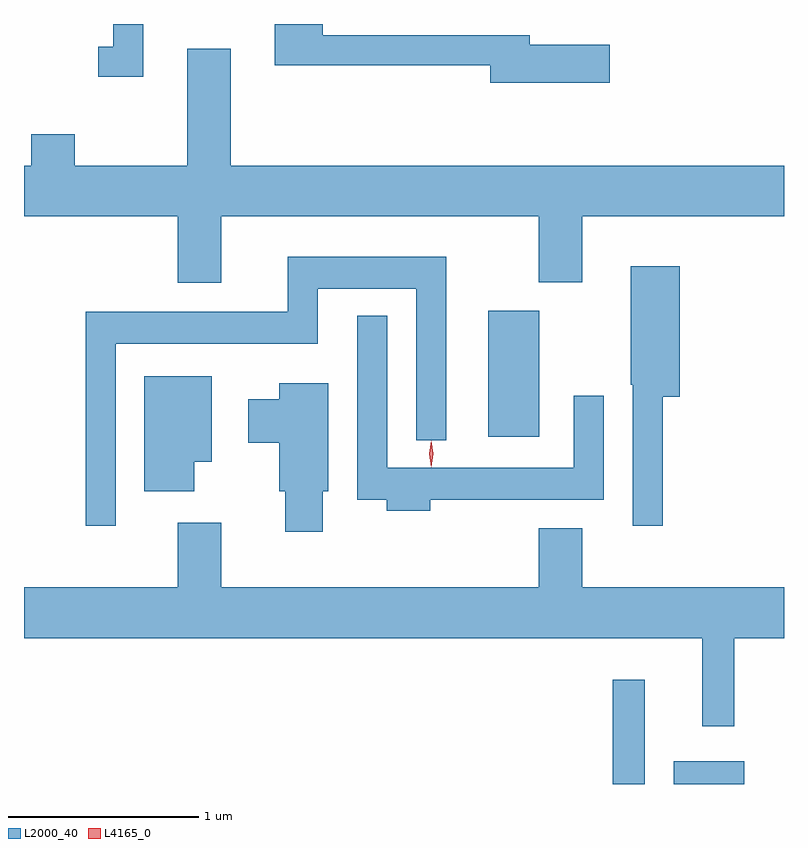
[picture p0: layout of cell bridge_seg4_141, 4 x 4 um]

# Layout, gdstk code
import gdstk
lib = gdstk.Library(unit=1e-6, precision=1e-09)
def R(c, l, rs):  # rectangles x0, y0, x1, y1
    for r in rs: c.add(gdstk.rectangle(r[:2], r[2:], *l))
def P(c, l, *ps):  # polygons
    for p in ps: c.add(gdstk.Polygon(p, *l))
L2000_40 = (2000, 40)
L4165_0 = (4165, 0)

bridge_seg4_141 = lib.new_cell('bridge_seg4_141')
R(bridge_seg4_141, L2000_40, [(903.371,1307.289,903.539,1307.838), (903.691,1307.289,904.064,1307.409), (902.716,1309.116,902.984,1309.779)])
P(bridge_seg4_141, L2000_40, [(900.899,1311.289),(900.741,1311.289),(900.741,1311.169),(900.663,1311.169),(900.663,1311.011),(900.899,1311.011)],
  [(903.354,1311.179),(902.934,1311.179),(902.934,1311.229),(901.844,1311.229),(901.844,1311.289),(901.591,1311.289),(901.591,1311.071),(902.726,1311.071),(902.726,1310.981),(903.354,1310.981)],
  [(901.309,1310.276),(902.981,1310.276),(902.981,1309.931),(903.209,1309.931),(903.209,1310.276),(904.272,1310.276),(904.272,1310.544),(901.359,1310.544),(901.359,1311.159),(901.131,1311.159),(901.131,1310.544),(900.539,1310.544),(900.539,1310.709),(900.311,1310.709),(900.311,1310.544),(900.272,1310.544),(900.272,1310.276),(901.081,1310.276),(901.081,1309.926),(901.309,1309.926)],
  [(900.754,1309.606),(901.819,1309.606),(901.819,1309.896),(902.336,1309.896),(902.336,1309.098),(902.494,1309.098),(902.494,1310.064),(901.661,1310.064),(901.661,1309.774),(900.596,1309.774),(900.596,1308.648),(900.754,1308.648)],
  [(903.634,1309.326),(903.724,1309.326),(903.724,1310.014),(903.466,1310.014),(903.466,1309.39),(903.476,1309.39),(903.476,1308.648),(903.634,1308.648)],
  [(902.409,1308.786),(903.324,1308.786),(903.324,1309.333),(903.166,1309.333),(903.166,1308.954),(902.184,1308.954),(902.184,1309.753),(902.026,1309.753),(902.026,1308.786),(902.181,1308.786),(902.181,1308.726),(902.409,1308.726)],
  [(901.169,1308.986),(901.259,1308.986),(901.259,1309.434),(900.906,1309.434),(900.906,1308.831),(901.169,1308.831)],
  [(901.844,1308.831),(901.874,1308.831),(901.874,1309.399),(901.616,1309.399),(901.616,1309.314),(901.451,1309.314),(901.451,1309.086),(901.616,1309.086),(901.616,1308.831),(901.646,1308.831),(901.646,1308.616),(901.844,1308.616)],
  [(904.009,1308.056),(904.272,1308.056),(904.272,1308.324),(903.209,1308.324),(903.209,1308.634),(902.981,1308.634),(902.981,1308.324),(901.309,1308.324),(901.309,1308.664),(901.081,1308.664),(901.081,1308.324),(900.272,1308.324),(900.272,1308.056),(903.841,1308.056),(903.841,1307.593),(904.009,1307.593)])
P(bridge_seg4_141, L4165_0, [(902.415,1308.957),(902.415,1308.957),(902.405,1309.027),(902.415,1309.096),(902.415,1309.096),(902.416,1309.096),(902.425,1309.027),(902.416,1308.957)],
  [(902.416,1308.959),(902.415,1308.96),(902.406,1309.026),(902.415,1309.092),(902.416,1309.093),(902.416,1309.092),(902.426,1309.026),(902.416,1308.96)])

lib.write_gds('bridge_seg4_141.gds')
